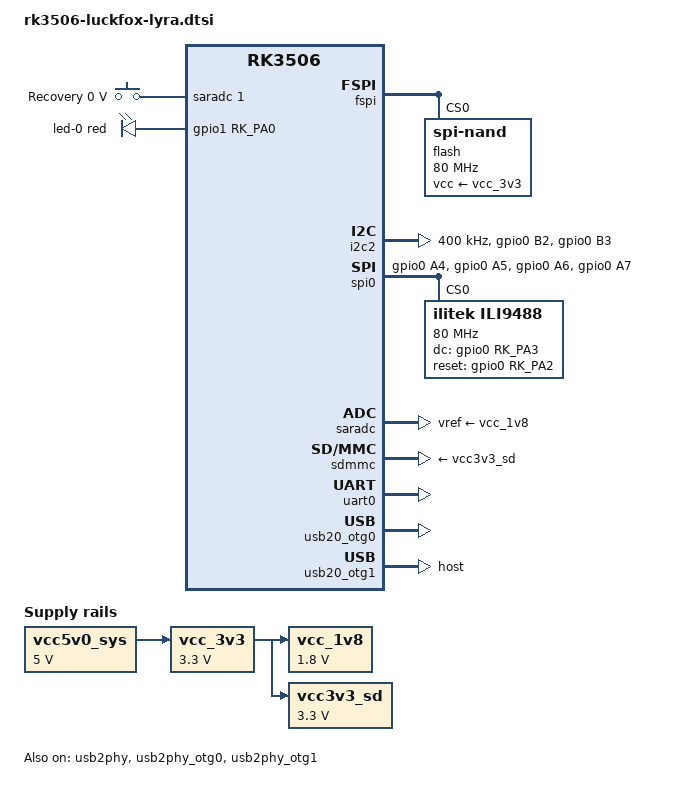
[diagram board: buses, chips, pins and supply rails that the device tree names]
// SPDX-License-Identifier: (GPL-2.0+ OR MIT)

#include <dt-bindings/input/input.h>
#include <dt-bindings/leds/common.h>
#include "rk3506.dtsi"

/ {
	aliases {
		mmc0 = &sdmmc;
		serial0 = &uart0;
		spi0 = &spi0;
		i2c2 = &i2c2;
	};

	chosen {
		stdout-path = "serial0:1500000n8";
	};

	adc-keys {
		compatible = "adc-keys";
		io-channels = <&saradc 1>;
		io-channel-names = "buttons";
		keyup-threshold-microvolt = <1800000>;
		poll-interval = <100>;

		button-recovery {
			label = "Recovery";
			linux,code = <KEY_VENDOR>;
			press-threshold-microvolt = <0>;
		};
	};

	leds {
		compatible = "gpio-leds";

		led-0 {
			color = <LED_COLOR_ID_RED>;
			default-state = "on";
			function = LED_FUNCTION_HEARTBEAT;
			gpios = <&gpio1 RK_PA0 GPIO_ACTIVE_HIGH>;
			linux,default-trigger = "heartbeat";
			pinctrl-names = "default";
			pinctrl-0 = <&led1>;
		};
	};

	vcc_1v8: regulator-1v8 {
		compatible = "regulator-fixed";
		regulator-name = "vcc_1v8";
		regulator-always-on;
		regulator-boot-on;
		regulator-min-microvolt = <1800000>;
		regulator-max-microvolt = <1800000>;
		vin-supply = <&vcc_3v3>;
	};

	vcc_3v3: regulator-3v3 {
		compatible = "regulator-fixed";
		regulator-name = "vcc_3v3";
		regulator-always-on;
		regulator-boot-on;
		regulator-min-microvolt = <3300000>;
		regulator-max-microvolt = <3300000>;
		vin-supply = <&vcc5v0_sys>;
	};

	vcc3v3_sd: regulator-3v3-sd {
		compatible = "regulator-fixed";
		regulator-name = "vcc3v3_sd";
		regulator-always-on;
		regulator-boot-on;
		regulator-min-microvolt = <3300000>;
		regulator-max-microvolt = <3300000>;
		vin-supply = <&vcc_3v3>;
	};

	vcc5v0_sys: regulator-5v0-sys {
		compatible = "regulator-fixed";
		regulator-name = "vcc5v0_sys";
		regulator-always-on;
		regulator-boot-on;
		regulator-min-microvolt = <5000000>;
		regulator-max-microvolt = <5000000>;
	};
};

/* RMIO syscon used by PicoCalc remux SPI0 / I2C2 pinmux */
&pinctrl {
	rockchip,rmio = <&grf_pmu>;

	/* Minimal pinconf (WIP rk3506 DT omits rockchip-pinconf.dtsi) */
	pcfg_pull_none: pcfg-pull-none {
		bias-disable;
	};

	pcfg_pull_up: pcfg-pull-up {
		bias-pull-up;
	};

	pcfg_pull_none_drv_level_3: pcfg-pull-none-drv-level-3 {
		bias-disable;
		drive-strength = <3>;
	};

	leds {
		/omit-if-no-ref/
		led1: led1 {
			rockchip,pins = <1 RK_PA0 RK_FUNC_GPIO &pcfg_pull_none>;
		};
	};

	/*
	 * PicoCalc remux pins (same values as Linux rk3506-pinctrl-rmio.dtsi /
	 * picocalc-luckfox-lyra.dtsi).
	 */
	rm_io {
		/omit-if-no-ref/
		rm_io4_spi0_csn0: rm-io4-spi0-csn0 {
			rockchip,pins = <0 RK_PA4 85 &pcfg_pull_none_drv_level_3>;
		};

		/omit-if-no-ref/
		rm_io5_spi0_miso: rm-io5-spi0-miso {
			rockchip,pins = <0 RK_PA5 84 &pcfg_pull_none_drv_level_3>;
		};

		/omit-if-no-ref/
		rm_io6_spi0_mosi: rm-io6-spi0-mosi {
			rockchip,pins = <0 RK_PA6 83 &pcfg_pull_none_drv_level_3>;
		};

		/omit-if-no-ref/
		rm_io7_spi0_clk: rm-io7-spi0-clk {
			rockchip,pins = <0 RK_PA7 82 &pcfg_pull_none_drv_level_3>;
		};

		/omit-if-no-ref/
		rm_io10_i2c2_scl: rm-io10-i2c2-scl {
			rockchip,pins = <0 RK_PB2 34 &pcfg_pull_none>;
		};

		/omit-if-no-ref/
		rm_io11_i2c2_sda: rm-io11-i2c2-sda {
			rockchip,pins = <0 RK_PB3 35 &pcfg_pull_none>;
		};

		/omit-if-no-ref/
		ili9488_pins: ili9488-pins {
			rockchip,pins =
				<0 RK_PA3 RK_FUNC_GPIO &pcfg_pull_none>,
				<0 RK_PA2 RK_FUNC_GPIO &pcfg_pull_none>;
		};
	};
};

&fspi {
	status = "okay";

	flash@0 {
		compatible = "spi-nand";
		reg = <0>;
		bootph-pre-ram;
		bootph-some-ram;
		spi-max-frequency = <80000000>;
		spi-rx-bus-width = <4>;
		spi-tx-bus-width = <1>;
		vcc-supply = <&vcc_3v3>;
	};
};

&i2c2 {
	status = "okay";
	pinctrl-names = "default";
	pinctrl-0 = <&rm_io10_i2c2_scl &rm_io11_i2c2_sda>;
	clock-frequency = <400000>;
};

&spi0 {
	status = "okay";
	pinctrl-names = "default";
	pinctrl-0 = <&rm_io4_spi0_csn0 &rm_io5_spi0_miso
		     &rm_io6_spi0_mosi &rm_io7_spi0_clk>;
	num-cs = <1>;

	ili9488: ili9488@0 {
		compatible = "ilitek,ili9488", "picocalc,spilcd";
		reg = <0>;
		spi-max-frequency = <80000000>;
		pinctrl-names = "default";
		pinctrl-0 = <&ili9488_pins>;
		dc-gpios = <&gpio0 RK_PA3 GPIO_ACTIVE_HIGH>;
		reset-gpios = <&gpio0 RK_PA2 GPIO_ACTIVE_HIGH>;
	};
};

&saradc {
	vref-supply = <&vcc_1v8>;
	status = "okay";
};

&sdmmc {
	cap-mmc-highspeed;
	cap-sd-highspeed;
	disable-wp;
	no-sdio;
	vmmc-supply = <&vcc3v3_sd>;
	status = "okay";
};

&uart0 {
	status = "okay";
};

&usb20_otg0 {
	status = "okay";
};

&usb20_otg1 {
	dr_mode = "host";
	status = "okay";
};

&usb2phy {
	status = "okay";
};

&usb2phy_otg0 {
	status = "okay";
};

&usb2phy_otg1 {
	status = "okay";
};
